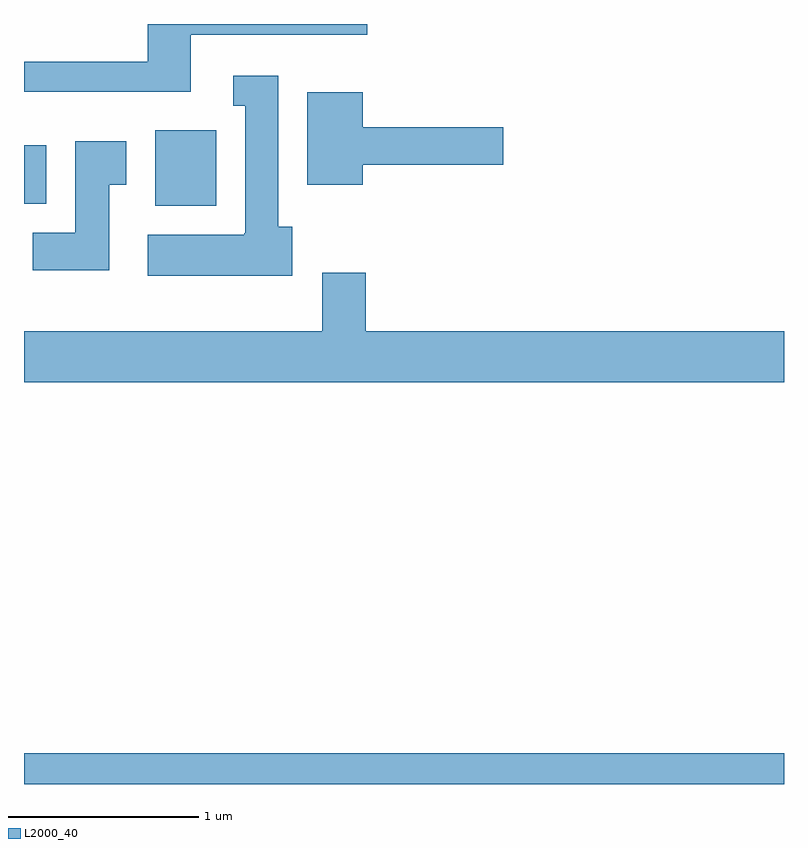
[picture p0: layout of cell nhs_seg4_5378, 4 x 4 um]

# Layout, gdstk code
import gdstk
lib = gdstk.Library(unit=1e-6, precision=1e-09)
def R(c, l, rs):  # rectangles x0, y0, x1, y1
    for r in rs: c.add(gdstk.rectangle(r[:2], r[2:], *l))
def P(c, l, *ps):  # polygons
    for p in ps: c.add(gdstk.Polygon(p, *l))
L2000_40 = (2000, 40)

nhs_seg4_5378 = lib.new_cell('nhs_seg4_5378')
R(nhs_seg4_5378, L2000_40, [(343.611,1265.982,347.611,1266.144), (344.301,1269.026,344.624,1269.424), (343.611,1269.036,343.729,1269.344)])
P(nhs_seg4_5378, L2000_40, [(344.489,1269.926),(345.418,1269.926),(345.418,1269.982),(344.261,1269.982),(344.261,1269.784),(343.611,1269.784),(343.611,1269.626),(344.489,1269.626)],
  [(345.024,1268.914),(344.949,1268.914),(344.949,1269.709),(344.713,1269.709),(344.713,1269.551),(344.776,1269.551),(344.776,1268.88),(344.77,1268.88),(344.77,1268.874),(344.261,1268.874),(344.261,1268.656),(345.024,1268.656)],
  [(345.394,1269.241),(346.134,1269.241),(346.134,1269.439),(345.394,1269.439),(345.394,1269.624),(345.101,1269.624),(345.101,1269.136),(345.394,1269.136)],
  [(344.059,1269.136),(344.149,1269.136),(344.149,1269.364),(343.881,1269.364),(343.881,1268.884),(343.656,1268.884),(343.656,1268.686),(344.059,1268.686)],
  [(347.611,1268.364),(345.409,1268.364),(345.409,1268.674),(345.181,1268.674),(345.181,1268.364),(343.611,1268.364),(343.611,1268.096),(347.611,1268.096)])

lib.write_gds('nhs_seg4_5378.gds')
